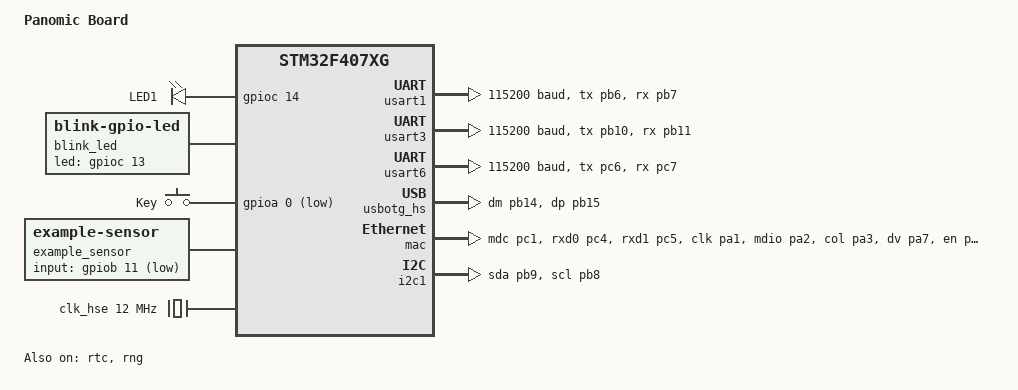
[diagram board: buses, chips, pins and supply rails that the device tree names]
/*
 * Copyright (c) 2021 Nordic Semiconductor ASA
 * SPDX-License-Identifier: Apache-2.0
 */

/dts-v1/;
#include <st/f4/stm32f407Xg.dtsi>
#include <st/f4/stm32f407z(e-g)tx-pinctrl.dtsi>
#include <zephyr/dt-bindings/input/input-event-codes.h>

/ {
  model = "Panomic Board";
  compatible = "technoculture,panomic_board";

  chosen {
    zephyr,console = &usart1;
    zephyr,shell-uart = &usart6;
    zephyr,sram = &sram0;
    zephyr,flash = &flash0;
    zephyr,ccm = &ccm0;
    zephyr,settings-partition = &storage_partition;
		zephyr,code-partition = &slot0_partition;
  };

  leds {
    compatible = "gpio-leds";
    green_led_1: led_1 {
      gpios = <&gpioc 14 GPIO_ACTIVE_HIGH>; // is actually 13: TODO fix jugaad
      label = "LED1";
    };
  };

  blink_led: blink-led {
    compatible = "blink-gpio-led";
    led-gpios = <&gpioc 13 GPIO_ACTIVE_HIGH>;
    blink-period-ms = <1000>;
  };

  gpio_keys {
    compatible = "gpio-keys";
    user_button: button {
      label = "Key";
      gpios = <&gpioa 0 GPIO_ACTIVE_LOW>;
      zephyr,code = <INPUT_KEY_0>;
    };
  };

  example_sensor: example-sensor {
    compatible = "zephyr,example-sensor";
    input-gpios = <&gpiob 11 (GPIO_PULL_UP | GPIO_ACTIVE_LOW)>;
  };

  aliases {
    led0 = &green_led_1;
    sw0 = &user_button;
  };

};

&clk_lsi {
  status = "okay";
};

&clk_hse {
  clock-frequency = <DT_FREQ_M(12)>;
  status = "okay";
};

&pll {
  div-m = <12>;
  mul-n = <336>;
  div-p = <2>;
  div-q = <7>;
  clocks = <&clk_hse>;
  status = "okay";
};

&rcc {
  clocks = <&pll>;
  clock-frequency = <DT_FREQ_M(168)>;
  ahb-prescaler = <1>;
  apb1-prescaler = <4>;
  apb2-prescaler = <2>;
};

&usart1 {
  pinctrl-0 = <&usart1_tx_pb6 &usart1_rx_pb7>;
  pinctrl-names = "default";
  current-speed = <115200>;
  status = "okay";
};

&usart3 {
  pinctrl-0 = <&usart3_tx_pb10 &usart3_rx_pb11>;
  pinctrl-names = "default";
  current-speed = <115200>;
  status = "okay";
};

&usart6 {
  pinctrl-0 = <&usart6_tx_pc6 &usart6_rx_pc7>;
  pinctrl-names = "default";
  current-speed = <115200>;
  status = "okay";
};

&rtc {
  clocks = <&rcc STM32_CLOCK_BUS_APB1 0x10000000>,
           <&rcc STM32_SRC_LSI RTC_SEL(2)>;
  status = "okay";
};

&rng {
  status = "okay";
};

/* Only one interface should be enabled at a time: usbotg_fs or usbotg_hs */
usb_otg1: &usbotg_fs {
  pinctrl-0 = <&usb_otg_fs_dm_pa11 &usb_otg_fs_dp_pa12>;
  pinctrl-names = "default";
  status = "disabled";
};

zephyr_udc0: &usbotg_hs {
  pinctrl-0 = <&usb_otg_hs_dm_pb14 &usb_otg_hs_dp_pb15>;
  pinctrl-names = "default";
  status = "okay";
};

&mac {
  status = "okay";
  pinctrl-0 = <&eth_mdc_pc1
  &eth_rxd0_pc4
  &eth_rxd1_pc5
  &eth_ref_clk_pa1
  &eth_mdio_pa2
  &eth_col_pa3
  &eth_crs_dv_pa7
  &eth_tx_en_pg11
  &eth_txd0_pg13
  &eth_txd1_pg14>;
  pinctrl-names = "default";
};

&i2c1 {
  pinctrl-0 = <&i2c1_sda_pb9 &i2c1_scl_pb8>;  // Assign the pins for SDA and SCL
  pinctrl-names = "default";
  status = "okay";
};

&flash0 {

	partitions {
		compatible = "fixed-partitions";
		#address-cells = <1>;
		#size-cells = <1>;

        /* First 2 x 32Kb for the mcuboot bootloader */
		boot_partition: partition@0 {
			label = "mcuboot";
			reg = <0x00000000 DT_SIZE_K(32)>;
			read-only;
		};

        /* Second 2 x 32Kb for the Settings Subsystem */
        storage_partition: partition@8000 {
			label = "storage";
			reg = <0x00008000 DT_SIZE_K(32)>;
		};

		/*
		 * Here is 1 64Kb page usebale for whatever you want
		 */

        /* First 3 x 128Kb pages for the application */
		slot0_partition: partition@20000 {
			label = "image-0";
			reg = <0x00020000 DT_SIZE_K(128*3)>;
		};

        /* Second 3 x 128Kb pages for the application update using mcuboot */
		slot1_partition: partition@80000 {
			label = "image-1";
			reg = <0x00080000 DT_SIZE_K(128*3)>;
		};

        /* Last 128Kb page for the application update using mcuboot with scratch partition*/
		scratch_partition: partition@E0000 {
			label = "image-scratch";
			reg = <0x000E0000 DT_SIZE_K(128)>;
		};
	};
};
